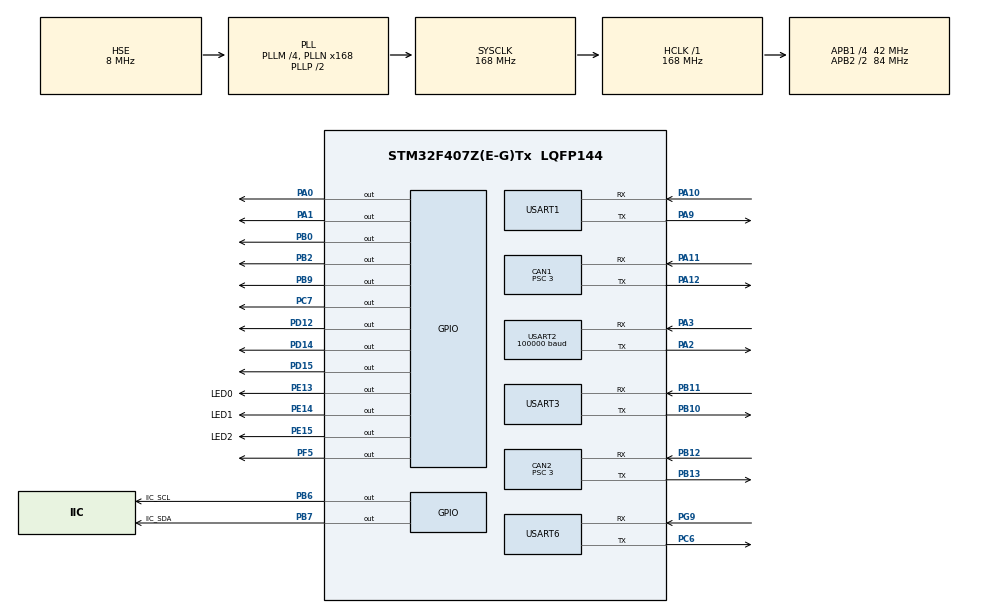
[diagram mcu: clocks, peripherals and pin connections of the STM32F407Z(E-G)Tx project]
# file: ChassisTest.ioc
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CAN1.ABOM=ENABLE
CAN1.BS1=CAN_BS1_9TQ
CAN1.BS2=CAN_BS2_4TQ
CAN1.CalculateTimeQuantum=71.42857142857143
CAN1.Prescaler=3
CAN2.ABOM=ENABLE
CAN2.BS1=CAN_BS1_9TQ
CAN2.BS2=CAN_BS2_4TQ
CAN2.CalculateTimeQuantum=71.42857142857143
CAN2.Prescaler=3
Dma.Request0=USART2_RX
Dma.Request1=USART3_RX
Dma.Request2=USART3_TX
Dma.Request3=USART6_RX
Dma.Request4=USART6_TX
Dma.USART2_RX.0.Direction=DMA_PERIPH_TO_MEMORY
Dma.USART2_RX.0.FIFOMode=DMA_FIFOMODE_DISABLE
Dma.USART2_RX.0.Instance=DMA1_Stream5
Dma.USART2_RX.0.MemDataAlignment=DMA_MDATAALIGN_BYTE
Dma.USART2_RX.0.MemInc=DMA_MINC_ENABLE
Dma.USART2_RX.0.Mode=DMA_NORMAL
Dma.USART2_RX.0.PeriphDataAlignment=DMA_PDATAALIGN_BYTE
Dma.USART2_RX.0.PeriphInc=DMA_PINC_DISABLE
Dma.USART2_RX.0.Priority=DMA_PRIORITY_LOW
Dma.USART3_RX.1.Direction=DMA_PERIPH_TO_MEMORY
Dma.USART3_RX.1.FIFOMode=DMA_FIFOMODE_DISABLE
Dma.USART3_RX.1.Instance=DMA1_Stream1
Dma.USART3_RX.1.MemDataAlignment=DMA_MDATAALIGN_BYTE
Dma.USART3_RX.1.MemInc=DMA_MINC_ENABLE
Dma.USART3_RX.1.Mode=DMA_NORMAL
Dma.USART3_RX.1.PeriphDataAlignment=DMA_PDATAALIGN_BYTE
Dma.USART3_RX.1.PeriphInc=DMA_PINC_DISABLE
Dma.USART3_RX.1.Priority=DMA_PRIORITY_LOW
Dma.USART3_TX.2.Direction=DMA_MEMORY_TO_PERIPH
Dma.USART3_TX.2.FIFOMode=DMA_FIFOMODE_DISABLE
Dma.USART3_TX.2.Instance=DMA1_Stream3
Dma.USART3_TX.2.MemDataAlignment=DMA_MDATAALIGN_BYTE
Dma.USART3_TX.2.MemInc=DMA_MINC_ENABLE
Dma.USART3_TX.2.Mode=DMA_NORMAL
Dma.USART3_TX.2.PeriphDataAlignment=DMA_PDATAALIGN_BYTE
Dma.USART3_TX.2.PeriphInc=DMA_PINC_DISABLE
Dma.USART3_TX.2.Priority=DMA_PRIORITY_LOW
Dma.USART6_RX.3.Direction=DMA_PERIPH_TO_MEMORY
Dma.USART6_RX.3.FIFOMode=DMA_FIFOMODE_DISABLE
Dma.USART6_RX.3.Instance=DMA2_Stream1
Dma.USART6_RX.3.MemDataAlignment=DMA_MDATAALIGN_BYTE
Dma.USART6_RX.3.MemInc=DMA_MINC_ENABLE
Dma.USART6_RX.3.Mode=DMA_NORMAL
Dma.USART6_RX.3.PeriphDataAlignment=DMA_PDATAALIGN_BYTE
Dma.USART6_RX.3.PeriphInc=DMA_PINC_DISABLE
Dma.USART6_RX.3.Priority=DMA_PRIORITY_LOW
Dma.USART6_TX.4.Direction=DMA_MEMORY_TO_PERIPH
Dma.USART6_TX.4.FIFOMode=DMA_FIFOMODE_DISABLE
Dma.USART6_TX.4.Instance=DMA2_Stream6
Dma.USART6_TX.4.MemDataAlignment=DMA_MDATAALIGN_BYTE
Dma.USART6_TX.4.MemInc=DMA_MINC_ENABLE
Dma.USART6_TX.4.Mode=DMA_NORMAL
Dma.USART6_TX.4.PeriphDataAlignment=DMA_PDATAALIGN_BYTE
Dma.USART6_TX.4.PeriphInc=DMA_PINC_DISABLE
Dma.USART6_TX.4.Priority=DMA_PRIORITY_LOW
Mcu.Family=STM32F4
Mcu.Name=STM32F407Z(E-G)Tx
Mcu.Package=LQFP144
NVIC.CAN1_RX0_IRQn=true\:0\:0\:false\:false\:true\:true\:true
NVIC.CAN1_TX_IRQn=true\:0\:0\:false\:false\:true\:true\:true
NVIC.CAN2_RX0_IRQn=true\:0\:0\:false\:false\:true\:true\:true
NVIC.CAN2_TX_IRQn=true\:0\:0\:false\:false\:true\:true\:true
NVIC.DMA1_Stream1_IRQn=true\:0\:0\:false\:false\:true\:false\:true
NVIC.DMA1_Stream3_IRQn=true\:0\:0\:false\:false\:true\:false\:true
NVIC.DMA1_Stream5_IRQn=true\:0\:0\:false\:false\:true\:false\:true
NVIC.DMA2_Stream1_IRQn=true\:0\:0\:false\:false\:true\:false\:true
NVIC.DMA2_Stream6_IRQn=true\:0\:0\:false\:false\:true\:false\:true
NVIC.PriorityGroup=NVIC_PRIORITYGROUP_4
NVIC.TIM3_IRQn=true\:0\:0\:false\:false\:true\:true\:true
NVIC.TIM5_IRQn=true\:0\:0\:false\:false\:true\:true\:true
NVIC.TIM7_IRQn=true\:0\:0\:false\:false\:true\:true\:true
NVIC.USART1_IRQn=true\:0\:0\:false\:false\:true\:true\:true
NVIC.USART2_IRQn=true\:0\:0\:false\:false\:true\:true\:true
NVIC.USART3_IRQn=true\:0\:0\:false\:false\:true\:true\:true
NVIC.USART6_IRQn=true\:0\:0\:false\:false\:true\:true\:true
PA0-WKUP.Signal=GPIO_Output
PA1.Signal=GPIO_Output
PA10.Mode=Asynchronous
PA10.Signal=USART1_RX
PA11.Mode=Master
PA11.Signal=CAN1_RX
PA12.Mode=Master
PA12.Signal=CAN1_TX
PA13.Mode=Serial_Wire
PA13.Signal=SYS_JTMS-SWDIO
PA14.Mode=Serial_Wire
PA14.Signal=SYS_JTCK-SWCLK
PA2.Mode=Asynchronous
PA2.Signal=USART2_TX
PA3.Mode=Asynchronous
PA3.Signal=USART2_RX
PA9.Mode=Asynchronous
PA9.Signal=USART1_TX
PB0.Signal=GPIO_Output
PB10.Mode=Asynchronous
PB10.Signal=USART3_TX
PB11.Mode=Asynchronous
PB11.Signal=USART3_RX
PB12.Mode=Slave
PB12.Signal=CAN2_RX
PB13.Mode=Slave
PB13.Signal=CAN2_TX
PB2.Signal=GPIO_Output
PB6.GPIO_Label=IIC_SCL
PB6.GPIO_PuPd=GPIO_PULLUP
PB6.GPIO_Speed=GPIO_SPEED_FREQ_HIGH
PB6.Signal=GPIO_Output
PB7.GPIO_Label=IIC_SDA
PB7.GPIO_PuPd=GPIO_PULLUP
PB7.GPIO_Speed=GPIO_SPEED_FREQ_HIGH
PB7.Signal=GPIO_Output
PB9.Signal=GPIO_Output
PC6.Mode=Asynchronous
PC6.Signal=USART6_TX
PC7.Signal=GPIO_Output
PD12.Signal=GPIO_Output
PD14.Signal=GPIO_Output
PD15.Signal=GPIO_Output
PE13.GPIO_Label=LED0
PE13.GPIO_PuPd=GPIO_PULLUP
PE13.PinState=GPIO_PIN_SET
PE13.Signal=GPIO_Output
PE14.GPIO_Label=LED1
PE14.GPIO_PuPd=GPIO_PULLUP
PE14.PinState=GPIO_PIN_SET
PE14.Signal=GPIO_Output
PE15.GPIO_Label=LED2
PE15.GPIO_PuPd=GPIO_PULLUP
PE15.PinState=GPIO_PIN_SET
PE15.Signal=GPIO_Output
PF5.Signal=GPIO_Output
PG9.Mode=Asynchronous
PG9.Signal=USART6_RX
PH0-OSC_IN.Mode=HSE-External-Oscillator
PH0-OSC_IN.Signal=RCC_OSC_IN
PH1-OSC_OUT.Mode=HSE-External-Oscillator
PH1-OSC_OUT.Signal=RCC_OSC_OUT
ProjectManager.HeapSize=0x200
ProjectManager.StackSize=0x400
ProjectManager.TargetToolchain=MDK-ARM V5
RCC.48MHZClocksFreq_Value=84000000
RCC.AHBFreq_Value=168000000
RCC.APB1CLKDivider=RCC_HCLK_DIV4
RCC.APB1Freq_Value=42000000
RCC.APB1TimFreq_Value=84000000
RCC.APB2CLKDivider=RCC_HCLK_DIV2
RCC.APB2Freq_Value=84000000
RCC.APB2TimFreq_Value=168000000
RCC.CortexFreq_Value=168000000
RCC.HCLKFreq_Value=168000000
RCC.HSE_VALUE=8000000
RCC.HSI_VALUE=16000000
RCC.LSE_VALUE=32768
RCC.PLLM=4
RCC.PLLN=168
RCC.PLLSourceVirtual=RCC_PLLSOURCE_HSE
RCC.SYSCLKFreq_VALUE=168000000
RCC.SYSCLKSource=RCC_SYSCLKSOURCE_PLLCLK
RCC.VCOOutputFreq_Value=336000000
TIM3.Period=1000-1
TIM3.Prescaler=84-1
TIM5.Period=5000-1
TIM5.Prescaler=8400-1
TIM7.Period=1000
TIM7.Prescaler=8400
USART1.VirtualMode=VM_ASYNC
USART2.BaudRate=100000
USART2.Parity=PARITY_EVEN
USART2.VirtualMode=VM_ASYNC
USART3.VirtualMode=VM_ASYNC
USART6.VirtualMode=VM_ASYNC
VP_TIM3_VS_ClockSourceINT.Mode=Internal
VP_TIM5_VS_ClockSourceINT.Mode=Internal
VP_TIM7_VS_ClockSourceINT.Mode=Enable_Timer
board=custom

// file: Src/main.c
/* USER CODE BEGIN Header */
/**
  ******************************************************************************
  * @file           : main.c
  * @brief          : Main program body
  ******************************************************************************
  * @attention
  *
  * <h2><center>&copy; Copyright (c) 2019 STMicroelectronics.
  * All rights reserved.</center></h2>
  *
  * This software component is licensed by ST under BSD 3-Clause license,
  * the "License"; You may not use this file except in compliance with the
  * License. You may obtain a copy of the License at:
  *                        opensource.org/licenses/BSD-3-Clause
  *
  ******************************************************************************
  */
/* USER CODE END Header */

#include "main.h"
#include "can.h"
#include "dma.h"
#include "tim.h"
#include "usart.h"
#include "gpio.h"

/* USER CODE BEGIN Includes */

#include "RC_Task.h"
#include "CanBus_Task.h"
#include "APPInteraction.h"
#include "ChassisControl.h"
#include "Ano_Dt.h"
#include "stdio.h"
#include "ControlTask.h"
#include "Paraminit.h"
#include "ramp.h"
#include "CatchingTask.h"
#include "Judge_interact.h"
#include "Vision_interact.h"

/* USER CODE END Includes */

void SystemClock_Config(void);

int main(void)
{

  /* MCU Configuration--------------------------------------------------------*/

  /* Reset of all peripherals, Initializes the Flash interface and the Systick. */
  HAL_Init();

  /* Configure the system clock */
  SystemClock_Config();

  /* Initialize all configured peripherals */
  MX_GPIO_Init();
  MX_DMA_Init();
  MX_CAN1_Init();
  MX_TIM3_Init();
  MX_TIM7_Init();
  MX_USART1_UART_Init();
  MX_USART2_UART_Init();
  MX_CAN2_Init();
  MX_TIM5_Init();
  MX_USART3_UART_Init();
  MX_USART6_UART_Init();
  /* USER CODE BEGIN 2 */
  HAL_UART_Receive_IT_IDLE(&huart2,UART_Buffer,100);   /*启动串口空闲中断，用于接收遥控器发来的数据*/
  HAL_UART3_Receive_IT_IDLE(); //视觉通信串口DMA空闲中断开启
  HAL_UART6_Receive_IT_IDLE(); //裁判系统通信串口DMA空闲中断开启
  HAL_TIM_Base_Start_IT(&htim3);  //使能TIM3中断，溢出时间为1ms
  HAL_TIM_Base_Start_IT(&htim5); //使能TIM5中断，溢出时间为500ms
  CANFilterInit();     /*CAN过滤器的配置和开启CAN通信*/
  APPInteractionInit(); /*初始化调试组件*/
  ParamInit();

  /* USER CODE END 2 */

  /* Infinite loop */
  while (1)
  {

    /* USER CODE BEGIN 3 */

	AllTask();
//HAL_GPIO_WritePin(GPIOF,GPIO_PIN_9,GPIO_PIN_RESET);

  }
  /* USER CODE END 3 */
}

void SystemClock_Config(void)
{
  RCC_OscInitTypeDef RCC_OscInitStruct = {0};
  RCC_ClkInitTypeDef RCC_ClkInitStruct = {0};

  /** Configure the main internal regulator output voltage
  */
  __HAL_RCC_PWR_CLK_ENABLE();
  __HAL_PWR_VOLTAGESCALING_CONFIG(PWR_REGULATOR_VOLTAGE_SCALE1);
  /** Initializes the CPU, AHB and APB busses clocks
  */
  RCC_OscInitStruct.OscillatorType = RCC_OSCILLATORTYPE_HSE;
  RCC_OscInitStruct.HSEState = RCC_HSE_ON;
  RCC_OscInitStruct.PLL.PLLState = RCC_PLL_ON;
  RCC_OscInitStruct.PLL.PLLSource = RCC_PLLSOURCE_HSE;
  RCC_OscInitStruct.PLL.PLLM = 4;
  RCC_OscInitStruct.PLL.PLLN = 168;
  RCC_OscInitStruct.PLL.PLLP = RCC_PLLP_DIV2;
  RCC_OscInitStruct.PLL.PLLQ = 4;
  if (HAL_RCC_OscConfig(&RCC_OscInitStruct) != HAL_OK)
  {
    Error_Handler();
  }
  /** Initializes the CPU, AHB and APB busses clocks
  */
  RCC_ClkInitStruct.ClockType = RCC_CLOCKTYPE_HCLK|RCC_CLOCKTYPE_SYSCLK
                              |RCC_CLOCKTYPE_PCLK1|RCC_CLOCKTYPE_PCLK2;
  RCC_ClkInitStruct.SYSCLKSource = RCC_SYSCLKSOURCE_PLLCLK;
  RCC_ClkInitStruct.AHBCLKDivider = RCC_SYSCLK_DIV1;
  RCC_ClkInitStruct.APB1CLKDivider = RCC_HCLK_DIV4;
  RCC_ClkInitStruct.APB2CLKDivider = RCC_HCLK_DIV2;

  if (HAL_RCC_ClockConfig(&RCC_ClkInitStruct, FLASH_LATENCY_5) != HAL_OK)
  {
    Error_Handler();
  }
}

/* USER CODE BEGIN 4 */
void HAL_TIM_PeriodElapsedCallback(TIM_HandleTypeDef *htim)
{
    static uint16_t ms1 = 0,ms2 = 0,ms3 = 0;
    if(htim->Instance == TIM3)
    {
        ms1++;
        ms2++;
				ms3++;
        if(ms1 >= 1)
        {
            ms1 = 0;
            Chassis_Ctrl = 1;
        }
        if(ms2 >= 2)
        {
            ms2 = 0;
            Data_Send_ANO_DT = 1;
        }
				if(ms3 >= 100)
        {
            ms3 = 0;
            delay_100ms  = 1;
        }

    }
		if(htim->Instance == TIM5)
		{

				flip_box_delay++;
				rotational_delay++;
		}
}
/* USER CODE END 4 */

void Error_Handler(void)
{
}

/************************ (C) COPYRIGHT STMicroelectronics *****END OF FILE****/
